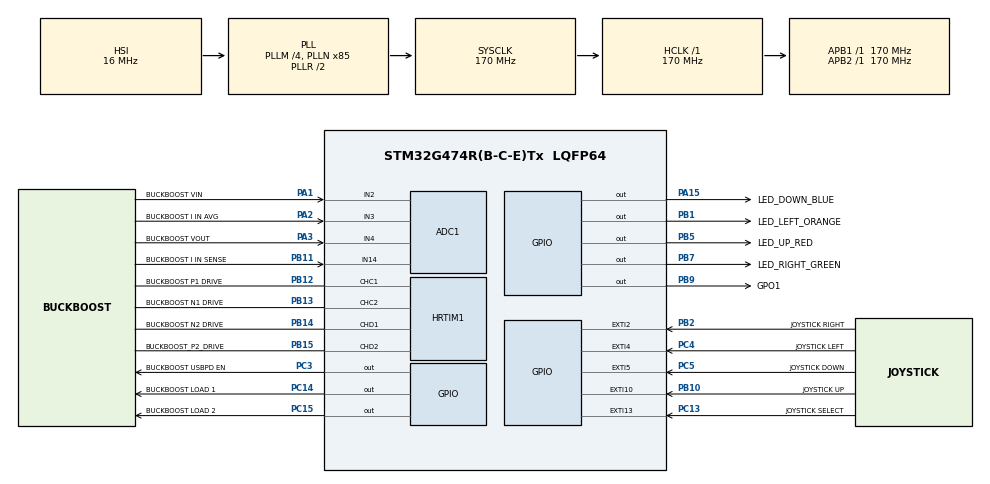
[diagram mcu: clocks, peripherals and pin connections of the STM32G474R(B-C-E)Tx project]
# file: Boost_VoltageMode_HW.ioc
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ADC1.Channel-0\#ChannelRegularConversion=ADC_CHANNEL_4
ADC1.DMAContinuousRequests=ENABLE
ADC1.DataAlign=ADC_DATAALIGN_LEFT
ADC1.ExternalTrigConv=ADC_EXTERNALTRIG_HRTIM_TRG1
ADC1.NbrOfConversionFlag=1
ADC1.Offset-0\#ChannelRegularConversion=REF
ADC1.OffsetNumber-0\#ChannelRegularConversion=ADC_OFFSET_1
ADC1.Overrun=ADC_OVR_DATA_OVERWRITTEN
ADC1.Rank-0\#ChannelRegularConversion=1
ADC1.SamplingTime-0\#ChannelRegularConversion=ADC_SAMPLETIME_24CYCLES_5
ADC1.master=1
Dma.ADC1.0.Direction=DMA_PERIPH_TO_MEMORY
Dma.ADC1.0.EventEnable=DISABLE
Dma.ADC1.0.Instance=DMA1_Channel1
Dma.ADC1.0.MemDataAlignment=DMA_MDATAALIGN_WORD
Dma.ADC1.0.MemInc=DMA_MINC_DISABLE
Dma.ADC1.0.Mode=DMA_CIRCULAR
Dma.ADC1.0.PeriphDataAlignment=DMA_PDATAALIGN_WORD
Dma.ADC1.0.PeriphInc=DMA_PINC_DISABLE
Dma.ADC1.0.Polarity=HAL_DMAMUX_REQ_GEN_RISING
Dma.ADC1.0.Priority=DMA_PRIORITY_LOW
Dma.ADC1.0.RequestNumber=1
Dma.ADC1.0.SignalID=HAL_DMAMUX1_REQ_GEN_EXTI2
Dma.ADC1.0.SyncEnable=DISABLE
Dma.ADC1.0.SyncPolarity=HAL_DMAMUX_SYNC_NO_EVENT
Dma.ADC1.0.SyncRequestNumber=1
Dma.ADC1.0.SyncSignalID=NONE
Dma.Request0=ADC1
HRTIM1.ADCTrigger1_Source1=HRTIM_ADCTRIGGEREVENT13_TIMERD_PERIOD
HRTIM1.ADCTrigger_Id1=HRTIM_ADCTRIGGER_1
HRTIM1.CompareUnit1-Output_TC1TC2=HRTIM_COMPAREUNIT_1
HRTIM1.CompareUnit1-Output_TD1TD2=HRTIM_COMPAREUNIT_1
HRTIM1.CompareUnit2-Output_TC1TC2=__NULL
HRTIM1.CompareUnit2-Output_TD1TD2=__NULL
HRTIM1.CompareUnit3-Output_TC1TC2=__NULL
HRTIM1.CompareUnit3-Output_TD1TD2=HRTIM_COMPAREUNIT_3
HRTIM1.CompareValue1-Output_TC1TC2=6400
HRTIM1.CompareValue1-Output_TD1TD2=96
HRTIM1.CompareValue3-Output_TD1TD2=24480
HRTIM1.DeadTimeInsertion-Output_TC1TC2=HRTIM_TIMDEADTIMEINSERTION_ENABLED
HRTIM1.DeadTimeInsertion-Output_TD1TD2=HRTIM_TIMDEADTIMEINSERTION_ENABLED
HRTIM1.FallingValue-Output_TC1TC2=250
HRTIM1.FallingValue-Output_TD1TD2=250
HRTIM1.FaultLevel1-Output_TC1TC2=HRTIM_OUTPUTFAULTLEVEL_INACTIVE
HRTIM1.FaultLevel2-Output_TC1TC2=HRTIM_OUTPUTFAULTLEVEL_INACTIVE
HRTIM1.GreaterCMP1_TC=HRTIM_TIMERGTCMP1_EQUAL
HRTIM1.IdleLevel1-Output_TC1TC2=HRTIM_OUTPUTIDLELEVEL_ACTIVE
HRTIM1.IdleLevel2-Output_TD1TD2=HRTIM_OUTPUTIDLELEVEL_ACTIVE
HRTIM1.NumberADCTriggerSource1=1
HRTIM1.NumberInterruptRequests-Output_TC1TC2=0
HRTIM1.NumberResetSource1-Output_TC1TC2=2
HRTIM1.NumberResetSource1-Output_TD1TD2=2
HRTIM1.NumberSetSource1-Output_TC1TC2=1
HRTIM1.NumberSetSource1-Output_TD1TD2=1
HRTIM1.ORingUpdateSource_ADCTrigger1=HRTIM_ADCTRIGGERUPDATE_TIMER_D
HRTIM1.Periode_TC=13600
HRTIM1.Periode_TD=27200
HRTIM1.PreloadEnable-Output_TC1TC2=HRTIM_PRELOAD_DISABLED
HRTIM1.ResetOutput1_Source1-Output_TC1TC2=HRTIM_OUTPUTRESET_TIMCMP1
HRTIM1.ResetOutput1_Source1-Output_TD1TD2=HRTIM_OUTPUTRESET_TIMCMP1
HRTIM1.ResetOutput1_Source2-Output_TC1TC2=HRTIM_OUTPUTRESET_NONE
HRTIM1.ResetOutput1_Source2-Output_TD1TD2=HRTIM_OUTPUTRESET_TIMCMP3
HRTIM1.ResetUpdate-Output_TC1TC2=HRTIM_TIMUPDATEONRESET_DISABLED
HRTIM1.RisingValue-Output_TC1TC2=250
HRTIM1.RisingValue-Output_TD1TD2=250
HRTIM1.SetOutput1_Source1-Output_TC1TC2=HRTIM_OUTPUTSET_TIMPER
HRTIM1.SetOutput1_Source1-Output_TD1TD2=HRTIM_OUTPUTSET_TIMPER
Mcu.Family=STM32G4
Mcu.Name=STM32G474R(B-C-E)Tx
Mcu.Package=LQFP64
NVIC.DMA1_Channel1_IRQn=true\:0\:0\:false\:false\:false\:false\:false\:true
NVIC.EXTI15_10_IRQn=true\:0\:0\:false\:false\:true\:true\:true\:true
NVIC.EXTI2_IRQn=true\:0\:0\:false\:false\:true\:true\:true\:true
NVIC.EXTI4_IRQn=true\:0\:0\:false\:false\:true\:true\:true\:true
NVIC.EXTI9_5_IRQn=true\:0\:0\:false\:false\:true\:true\:true\:true
NVIC.FMAC_IRQn=true\:0\:0\:false\:false\:true\:true\:false\:true
NVIC.PriorityGroup=NVIC_PRIORITYGROUP_4
PA1.GPIO_Label=BUCKBOOST VIN
PA1.Mode=IN2-Single-Ended
PA1.Signal=ADC1_IN2
PA13.GPIO_Label=T_SWDIO
PA13.Mode=Trace_Asynchronous_SW
PA13.Signal=SYS_JTMS-SWDIO
PA14.GPIO_Label=T_SWCLK
PA14.Mode=Trace_Asynchronous_SW
PA14.Signal=SYS_JTCK-SWCLK
PA15.GPIO_Label=LED_DOWN_BLUE
PA15.GPIO_PuPd=GPIO_NOPULL
PA15.Signal=GPIO_Output
PA2.GPIO_Label=BUCKBOOST I IN AVG
PA2.Mode=IN3-Single-Ended
PA2.Signal=ADC1_IN3
PA3.GPIO_Label=BUCKBOOST VOUT
PA3.Mode=IN4-Single-Ended
PA3.Signal=ADC1_IN4
PB1.GPIO_Label=LED_LEFT_ORANGE
PB1.GPIO_PuPd=GPIO_NOPULL
PB1.Signal=GPIO_Output
PB10.GPIO_Label=JOYSTICK UP
PB10.GPIO_PuPd=GPIO_PULLUP
PB10.Signal=GPXTI10
PB11.GPIO_Label=BUCKBOOST I IN SENSE
PB11.Mode=IN14-Single-Ended
PB11.Signal=ADC1_IN14
PB12.GPIO_Label=BUCKBOOST P1 DRIVE
PB12.Mode=Output_TC1TC2
PB12.Signal=HRTIM1_CHC1
PB13.GPIO_Label=BUCKBOOST N1 DRIVE
PB13.Mode=Output_TC1TC2
PB13.Signal=HRTIM1_CHC2
PB14.GPIO_Label=BUCKBOOST N2 DRIVE
PB14.Mode=Output_TD1TD2
PB14.Signal=HRTIM1_CHD1
PB15.GPIO_Label=BUCKBOOST_P2_DRIVE
PB15.Mode=Output_TD1TD2
PB15.Signal=HRTIM1_CHD2
PB2.GPIO_Label=JOYSTICK RIGHT
PB2.GPIO_ModeDefaultEXTI=GPIO_MODE_IT_RISING
PB2.GPIO_PuPd=GPIO_PULLUP
PB2.Signal=GPXTI2
PB3.GPIO_Label=T_SWO
PB3.Mode=Trace_Asynchronous_SW
PB3.Signal=SYS_JTDO-SWO
PB5.GPIO_Label=LED_UP_RED
PB5.GPIO_PuPd=GPIO_NOPULL
PB5.Signal=GPIO_Output
PB7.GPIO_Label=LED_RIGHT_GREEN
PB7.GPIO_PuPd=GPIO_NOPULL
PB7.Signal=GPIO_Output
PB9.GPIO_Label=GPO1
PB9.GPIO_Speed=GPIO_SPEED_FREQ_VERY_HIGH
PB9.Signal=GPIO_Output
PC10.Signal=USART3_TX
PC11.Signal=USART3_RX
PC13.GPIO_Label=JOYSTICK SELECT
PC13.GPIO_PuPd=GPIO_PULLUP
PC13.Signal=GPXTI13
PC14-OSC32_IN.GPIO_Label=BUCKBOOST LOAD 1
PC14-OSC32_IN.Signal=GPIO_Output
PC15-OSC32_OUT.GPIO_Label=BUCKBOOST LOAD 2
PC15-OSC32_OUT.Signal=GPIO_Output
PC3.GPIO_Label=BUCKBOOST USBPD EN
PC3.PinState=GPIO_PIN_SET
PC3.Signal=GPIO_Output
PC4.GPIO_Label=JOYSTICK LEFT
PC4.GPIO_PuPd=GPIO_PULLUP
PC4.Signal=GPXTI4
PC5.GPIO_Label=JOYSTICK DOWN
PC5.GPIO_PuPd=GPIO_PULLUP
PC5.Signal=GPXTI5
ProjectManager.HeapSize=0x200
ProjectManager.StackSize=0x400
ProjectManager.TargetToolchain=EWARM V8.32
RCC.ADC12CLockSelection=RCC_ADC12CLKSOURCE_PLL
RCC.ADC12Freq_Value=34000000
RCC.ADC345Freq_Value=170000000
RCC.AHBFreq_Value=170000000
RCC.APB1Freq_Value=170000000
RCC.APB1TimFreq_Value=170000000
RCC.APB2Freq_Value=170000000
RCC.APB2TimFreq_Value=170000000
RCC.CortexFreq_Value=170000000
RCC.EXTERNAL_CLOCK_VALUE=12288000
RCC.HCLKFreq_Value=170000000
RCC.HSE_VALUE=24000000
RCC.HSI48_VALUE=48000000
RCC.HSI_VALUE=16000000
RCC.LSE_VALUE=32768
RCC.PLLM=RCC_PLLM_DIV4
RCC.PLLN=85
RCC.PLLP=RCC_PLLP_DIV10
RCC.SYSCLKFreq_VALUE=170000000
RCC.SYSCLKSource=RCC_SYSCLKSOURCE_PLLCLK
RCC.USBFreq_Value=170000000
RCC.VCOOutputFreq_Value=340000000
VP_FMAC_VS_FMAC.Mode=FMAC_Activate
VP_RTC_VS_RTC_Activate.Mode=RTC_Enabled
VP_SYS_VS_DBSignals.Mode=DisableDeadBatterySignals
board=NUCLEO-G474RE

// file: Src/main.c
/* USER CODE BEGIN Header */
/**
  ******************************************************************************
  * @file         main.c
  * @author       STMicroelectronics
  * @brief        Main program body
  * @details      This file provides main function and peripheral init
  *               functions
  ******************************************************************************
  *
  * Copyright (c) 2022 STMicroelectronics.
  * All rights reserved.
  *
  * This software is licensed under terms that can be found in the LICENSE file in
  * the root directory of this software component.
  * If no LICENSE file comes with this software, it is provided AS-IS.
  ******************************************************************************
  *
 * @history Date       Version Person  Change
 * @history ---------- ------- ------- ----------------------------------------
  * @history 2020-02-14 1.0     PBo     Created with the support of Biricha Digital Power LTd
  * @history 2021-12-22 1.0     NSa     Updating code to manage both an open loop buck and
                                        a closed loop boost
  * @history 2022-01-04 1.0     RGo     Header modifications
  * @history 2022-01-10 2.0     NSa     Moved Systick_Handler to ISR file and Load_Handler to
  *                                     app code file
  * @history 2022-01-26 2.0     NSa     Suppressed the use of Compare 3 in Timer C from .ioc
  * @history 2022-01-27 2.0     NSa     Configured longer ADC sampling time
 */

/* USER CODE END Header */
#include "main.h"

/* USER CODE BEGIN Includes */
#include "stm32g4xx_it.h"
/* USER CODE END Includes */

ADC_HandleTypeDef hadc1;
DMA_HandleTypeDef hdma_adc1;

FMAC_HandleTypeDef hfmac;

HRTIM_HandleTypeDef hhrtim1;

RTC_HandleTypeDef hrtc;

/* USER CODE BEGIN PV */
/* FMAC configuration structure */
FMAC_FilterConfigTypeDef sFmacConfig;
DMA_HandleTypeDef hdma_fmac_read;

/* Array of filter coefficients A (feedback coefficients) in Q1.15 format */
static int16_t aFilterCoeffA[COEFF_VECTOR_A_SIZE] = {A1,A2,A3};

/* Array of filter coefficients B (feed-forward taps) in Q1.15 format */
static int16_t aFilterCoeffB[COEFF_VECTOR_B_SIZE] = {(int16_t)-B0,(int16_t)-B1,(int16_t)-B2,(int16_t)-B3};

/* Array of output data to preload in Q1.15 format */
static int16_t aOutputDataToPreload[COEFF_VECTOR_A_SIZE] = {0x0000, 0x0000, 0x0000};

/* Expected number of calculated samples */
uint16_t ExpectedCalculatedOutputSize = (uint16_t) 1;
uint32_t *Fmac_Wdata;
int16_t Fmac_output;
int16_t bTransient = 0;
extern G4_Demo_t Demo;
/* USER CODE END PV */

void SystemClock_Config(void);
static void MX_GPIO_Init(void);
static void MX_DMA_Init(void);
static void MX_RTC_Init(void);
static void MX_ADC1_Init(void);
static void MX_HRTIM1_Init(void);
static void MX_FMAC_Init(void);

int main(void)
{

  /* MCU Configuration--------------------------------------------------------*/

  /* Reset of all peripherals, Initializes the Flash interface and the Systick. */
  HAL_Init();

  /* Configure the system clock */
  SystemClock_Config();

  /* Initialize all configured peripherals */
  MX_GPIO_Init();
  MX_DMA_Init();
  MX_RTC_Init();
  MX_ADC1_Init();
  MX_HRTIM1_Init();
  MX_FMAC_Init();
  /* USER CODE BEGIN 2 */

     /*## Configure the FMAC peripheral ###########################################*/
  sFmacConfig.InputBaseAddress  = INPUT_BUFFER_BASE;
  sFmacConfig.InputBufferSize   = INPUT_BUFFER_SIZE;
  sFmacConfig.InputThreshold    = INPUT_THRESHOLD;
  sFmacConfig.CoeffBaseAddress  = COEFFICIENT_BUFFER_BASE;
  sFmacConfig.CoeffBufferSize   = COEFFICIENT_BUFFER_SIZE;
  sFmacConfig.OutputBaseAddress = OUTPUT_BUFFER_BASE;
  sFmacConfig.OutputBufferSize  = OUTPUT_BUFFER_SIZE;
  sFmacConfig.OutputThreshold   = OUTPUT_THRESHOLD;
  sFmacConfig.pCoeffA           = aFilterCoeffA;
  sFmacConfig.CoeffASize        = COEFF_VECTOR_A_SIZE;
  sFmacConfig.pCoeffB           = aFilterCoeffB;
  sFmacConfig.CoeffBSize        = COEFF_VECTOR_B_SIZE;
  sFmacConfig.Filter            = FMAC_FUNC_IIR_DIRECT_FORM_1;
  sFmacConfig.InputAccess       = FMAC_BUFFER_ACCESS_NONE;
  sFmacConfig.OutputAccess      = FMAC_BUFFER_ACCESS_IT;
  sFmacConfig.Clip              = FMAC_CLIP_ENABLED;
  sFmacConfig.P                 = COEFF_VECTOR_B_SIZE;
  sFmacConfig.Q                 = COEFF_VECTOR_A_SIZE;
  sFmacConfig.R                 = post_shift;

  if (HAL_FMAC_FilterConfig(&hfmac, &sFmacConfig) != HAL_OK)
  {
    /* Configuration Error */
    Error_Handler();
  }

  /*## Preload the input and output buffers ####################################*/
  if (HAL_FMAC_FilterPreload(&hfmac, NULL, INPUT_BUFFER_SIZE,
                           aOutputDataToPreload, COEFF_VECTOR_A_SIZE) != HAL_OK)
  {
    /* Configuration Error */
    Error_Handler();
  }
  /* Start calculation of IIR filter */
   if (HAL_FMAC_FilterStart(&hfmac,&Fmac_output,&ExpectedCalculatedOutputSize) != HAL_OK)
  {
    /* Processing Error */
    Error_Handler();
  }

  /* Perform an ADC automatic self-calibration and enable ADC */
  HAL_ADCEx_Calibration_Start(&hadc1, ADC_SINGLE_ENDED);

  /* Start the PWMs */
  HAL_HRTIM_WaveformOutputStart(&hhrtim1, HRTIM_OUTPUT_TC1 | HRTIM_OUTPUT_TC2);
  HAL_HRTIM_WaveformOutputStart(&hhrtim1, HRTIM_OUTPUT_TD1 | HRTIM_OUTPUT_TD2);
  HAL_HRTIM_WaveformCounterStart(&hhrtim1, HRTIM_TIMERID_TIMER_C | HRTIM_TIMERID_TIMER_D);

  /* Start ADC and DMA */
  Fmac_Wdata = (uint32_t *) FMAC_WDATA;
  HAL_ADC_Start_DMA(&hadc1,Fmac_Wdata,1);

  /* USER CODE END 2 */

  /* Infinite loop */
  /* USER CODE BEGIN WHILE */
  while (1)
  {
    if (bTransient)
    {
      HAL_GPIO_WritePin(GPIOA, LED_DOWN_BLUE_Pin, GPIO_PIN_SET);

      // Toggle both Loads
      HAL_GPIO_TogglePin(GPIOC, BUCKBOOST_LOAD_1_Pin);
      HAL_GPIO_TogglePin(GPIOC, BUCKBOOST_LOAD_2_Pin);
      HAL_GPIO_TogglePin(GPIOB, LED_RIGHT_GREEN_Pin);
      HAL_GPIO_TogglePin(GPIOB, LED_LEFT_ORANGE_Pin);

      // Delay
      HAL_Delay(500);
    } else {
      HAL_GPIO_WritePin(GPIOA, LED_DOWN_BLUE_Pin, GPIO_PIN_RESET);
    }

    /* USER CODE END WHILE */

  }
}

void SystemClock_Config(void)
{
  RCC_OscInitTypeDef RCC_OscInitStruct = {0};
  RCC_ClkInitTypeDef RCC_ClkInitStruct = {0};

  /** Configure the main internal regulator output voltage
  */
  HAL_PWREx_ControlVoltageScaling(PWR_REGULATOR_VOLTAGE_SCALE1_BOOST);

  /** Initializes the RCC Oscillators according to the specified parameters
  * in the RCC_OscInitTypeDef structure.
  */
  RCC_OscInitStruct.OscillatorType = RCC_OSCILLATORTYPE_HSI|RCC_OSCILLATORTYPE_LSI;
  RCC_OscInitStruct.HSIState = RCC_HSI_ON;
  RCC_OscInitStruct.HSICalibrationValue = RCC_HSICALIBRATION_DEFAULT;
  RCC_OscInitStruct.LSIState = RCC_LSI_ON;
  RCC_OscInitStruct.PLL.PLLState = RCC_PLL_ON;
  RCC_OscInitStruct.PLL.PLLSource = RCC_PLLSOURCE_HSI;
  RCC_OscInitStruct.PLL.PLLM = RCC_PLLM_DIV4;
  RCC_OscInitStruct.PLL.PLLN = 85;
  RCC_OscInitStruct.PLL.PLLP = RCC_PLLP_DIV10;
  RCC_OscInitStruct.PLL.PLLQ = RCC_PLLQ_DIV2;
  RCC_OscInitStruct.PLL.PLLR = RCC_PLLR_DIV2;
  if (HAL_RCC_OscConfig(&RCC_OscInitStruct) != HAL_OK)
  {
    Error_Handler();
  }

  /** Initializes the CPU, AHB and APB buses clocks
  */
  RCC_ClkInitStruct.ClockType = RCC_CLOCKTYPE_HCLK|RCC_CLOCKTYPE_SYSCLK
                              |RCC_CLOCKTYPE_PCLK1|RCC_CLOCKTYPE_PCLK2;
  RCC_ClkInitStruct.SYSCLKSource = RCC_SYSCLKSOURCE_PLLCLK;
  RCC_ClkInitStruct.AHBCLKDivider = RCC_SYSCLK_DIV1;
  RCC_ClkInitStruct.APB1CLKDivider = RCC_HCLK_DIV1;
  RCC_ClkInitStruct.APB2CLKDivider = RCC_HCLK_DIV1;

  if (HAL_RCC_ClockConfig(&RCC_ClkInitStruct, FLASH_LATENCY_4) != HAL_OK)
  {
    Error_Handler();
  }
}

static void MX_ADC1_Init(void)
{

  ADC_MultiModeTypeDef multimode = {0};
  ADC_ChannelConfTypeDef sConfig = {0};

  /** Common config
  */
  hadc1.Instance = ADC1;
  hadc1.Init.ClockPrescaler = ADC_CLOCK_SYNC_PCLK_DIV4;
  hadc1.Init.Resolution = ADC_RESOLUTION_12B;
  hadc1.Init.DataAlign = ADC_DATAALIGN_LEFT;
  hadc1.Init.GainCompensation = 0;
  hadc1.Init.ScanConvMode = ADC_SCAN_DISABLE;
  hadc1.Init.EOCSelection = ADC_EOC_SINGLE_CONV;
  hadc1.Init.LowPowerAutoWait = DISABLE;
  hadc1.Init.ContinuousConvMode = DISABLE;
  hadc1.Init.NbrOfConversion = 1;
  hadc1.Init.DiscontinuousConvMode = DISABLE;
  hadc1.Init.ExternalTrigConv = ADC_EXTERNALTRIG_HRTIM_TRG1;
  hadc1.Init.ExternalTrigConvEdge = ADC_EXTERNALTRIGCONVEDGE_RISING;
  hadc1.Init.DMAContinuousRequests = ENABLE;
  hadc1.Init.Overrun = ADC_OVR_DATA_OVERWRITTEN;
  hadc1.Init.OversamplingMode = DISABLE;
  if (HAL_ADC_Init(&hadc1) != HAL_OK)
  {
    Error_Handler();
  }

  /** Configure the ADC multi-mode
  */
  multimode.Mode = ADC_MODE_INDEPENDENT;
  if (HAL_ADCEx_MultiModeConfigChannel(&hadc1, &multimode) != HAL_OK)
  {
    Error_Handler();
  }

  /** Configure Regular Channel
  */
  sConfig.Channel = ADC_CHANNEL_4;
  sConfig.Rank = ADC_REGULAR_RANK_1;
  sConfig.SamplingTime = ADC_SAMPLETIME_24CYCLES_5;
  sConfig.SingleDiff = ADC_SINGLE_ENDED;
  sConfig.OffsetNumber = ADC_OFFSET_1;
  sConfig.Offset = REF;
  sConfig.OffsetSign = ADC_OFFSET_SIGN_NEGATIVE;
  sConfig.OffsetSaturation = DISABLE;
  if (HAL_ADC_ConfigChannel(&hadc1, &sConfig) != HAL_OK)
  {
    Error_Handler();
  }
  /* USER CODE BEGIN ADC1_Init 2 */
  /* CubeMX enables DMA interrupt even if not configured */
  HAL_NVIC_DisableIRQ(DMA1_Channel1_IRQn);
  /* USER CODE END ADC1_Init 2 */

}

static void MX_FMAC_Init(void)
{

  hfmac.Instance = FMAC;
  if (HAL_FMAC_Init(&hfmac) != HAL_OK)
  {
    Error_Handler();
  }

}

static void MX_HRTIM1_Init(void)
{

  HRTIM_ADCTriggerCfgTypeDef pADCTriggerCfg = {0};
  HRTIM_TimeBaseCfgTypeDef pTimeBaseCfg = {0};
  HRTIM_TimerCtlTypeDef pTimerCtl = {0};
  HRTIM_TimerCfgTypeDef pTimerCfg = {0};
  HRTIM_CompareCfgTypeDef pCompareCfg = {0};
  HRTIM_DeadTimeCfgTypeDef pDeadTimeCfg = {0};
  HRTIM_OutputCfgTypeDef pOutputCfg = {0};

  hhrtim1.Instance = HRTIM1;
  hhrtim1.Init.HRTIMInterruptResquests = HRTIM_IT_NONE;
  hhrtim1.Init.SyncOptions = HRTIM_SYNCOPTION_NONE;
  if (HAL_HRTIM_Init(&hhrtim1) != HAL_OK)
  {
    Error_Handler();
  }
  if (HAL_HRTIM_DLLCalibrationStart(&hhrtim1, HRTIM_CALIBRATIONRATE_3) != HAL_OK)
  {
    Error_Handler();
  }
  if (HAL_HRTIM_PollForDLLCalibration(&hhrtim1, 10) != HAL_OK)
  {
    Error_Handler();
  }
  pADCTriggerCfg.UpdateSource = HRTIM_ADCTRIGGERUPDATE_TIMER_D;
  pADCTriggerCfg.Trigger = HRTIM_ADCTRIGGEREVENT13_TIMERD_PERIOD;
  if (HAL_HRTIM_ADCTriggerConfig(&hhrtim1, HRTIM_ADCTRIGGER_1, &pADCTriggerCfg) != HAL_OK)
  {
    Error_Handler();
  }
  if (HAL_HRTIM_ADCPostScalerConfig(&hhrtim1, HRTIM_ADCTRIGGER_1, 0x0) != HAL_OK)
  {
    Error_Handler();
  }
  pTimeBaseCfg.Period = 13600;
  pTimeBaseCfg.RepetitionCounter = 0x00;
  pTimeBaseCfg.PrescalerRatio = HRTIM_PRESCALERRATIO_MUL32;
  pTimeBaseCfg.Mode = HRTIM_MODE_CONTINUOUS;
  if (HAL_HRTIM_TimeBaseConfig(&hhrtim1, HRTIM_TIMERINDEX_TIMER_C, &pTimeBaseCfg) != HAL_OK)
  {
    Error_Handler();
  }
  pTimerCtl.UpDownMode = HRTIM_TIMERUPDOWNMODE_UP;
  pTimerCtl.GreaterCMP1 = HRTIM_TIMERGTCMP1_EQUAL;
  pTimerCtl.DualChannelDacEnable = HRTIM_TIMER_DCDE_DISABLED;
  if (HAL_HRTIM_WaveformTimerControl(&hhrtim1, HRTIM_TIMERINDEX_TIMER_C, &pTimerCtl) != HAL_OK)
  {
    Error_Handler();
  }
  pTimerCfg.InterruptRequests = HRTIM_TIM_IT_NONE;
  pTimerCfg.DMARequests = HRTIM_TIM_DMA_NONE;
  pTimerCfg.DMASrcAddress = 0x0000;
  pTimerCfg.DMADstAddress = 0x0000;
  pTimerCfg.DMASize = 0x1;
  pTimerCfg.HalfModeEnable = HRTIM_HALFMODE_DISABLED;
  pTimerCfg.InterleavedMode = HRTIM_INTERLEAVED_MODE_DISABLED;
  pTimerCfg.StartOnSync = HRTIM_SYNCSTART_DISABLED;
  pTimerCfg.ResetOnSync = HRTIM_SYNCRESET_DISABLED;
  pTimerCfg.DACSynchro = HRTIM_DACSYNC_NONE;
  pTimerCfg.PreloadEnable = HRTIM_PRELOAD_DISABLED;
  pTimerCfg.UpdateGating = HRTIM_UPDATEGATING_INDEPENDENT;
  pTimerCfg.BurstMode = HRTIM_TIMERBURSTMODE_MAINTAINCLOCK;
  pTimerCfg.RepetitionUpdate = HRTIM_UPDATEONREPETITION_DISABLED;
  pTimerCfg.PushPull = HRTIM_TIMPUSHPULLMODE_DISABLED;
  pTimerCfg.FaultEnable = HRTIM_TIMFAULTENABLE_NONE;
  pTimerCfg.FaultLock = HRTIM_TIMFAULTLOCK_READWRITE;
  pTimerCfg.DeadTimeInsertion = HRTIM_TIMDEADTIMEINSERTION_ENABLED;
  pTimerCfg.DelayedProtectionMode = HRTIM_TIMER_A_B_C_DELAYEDPROTECTION_DISABLED;
  pTimerCfg.UpdateTrigger = HRTIM_TIMUPDATETRIGGER_NONE;
  pTimerCfg.ResetTrigger = HRTIM_TIMRESETTRIGGER_NONE;
  pTimerCfg.ResetUpdate = HRTIM_TIMUPDATEONRESET_DISABLED;
  pTimerCfg.ReSyncUpdate = HRTIM_TIMERESYNC_UPDATE_UNCONDITIONAL;
  if (HAL_HRTIM_WaveformTimerConfig(&hhrtim1, HRTIM_TIMERINDEX_TIMER_C, &pTimerCfg) != HAL_OK)
  {
    Error_Handler();
  }
  pTimerCfg.DelayedProtectionMode = HRTIM_TIMER_D_E_DELAYEDPROTECTION_DISABLED;
  if (HAL_HRTIM_WaveformTimerConfig(&hhrtim1, HRTIM_TIMERINDEX_TIMER_D, &pTimerCfg) != HAL_OK)
  {
    Error_Handler();
  }
  pCompareCfg.CompareValue = 6400;
  if (HAL_HRTIM_WaveformCompareConfig(&hhrtim1, HRTIM_TIMERINDEX_TIMER_C, HRTIM_COMPAREUNIT_1, &pCompareCfg) != HAL_OK)
  {
    Error_Handler();
  }
  pDeadTimeCfg.Prescaler = HRTIM_TIMDEADTIME_PRESCALERRATIO_MUL8;
  pDeadTimeCfg.RisingValue = 250;
  pDeadTimeCfg.RisingSign = HRTIM_TIMDEADTIME_RISINGSIGN_POSITIVE;
  pDeadTimeCfg.RisingLock = HRTIM_TIMDEADTIME_RISINGLOCK_WRITE;
  pDeadTimeCfg.RisingSignLock = HRTIM_TIMDEADTIME_RISINGSIGNLOCK_WRITE;
  pDeadTimeCfg.FallingValue = 250;
  pDeadTimeCfg.FallingSign = HRTIM_TIMDEADTIME_FALLINGSIGN_POSITIVE;
  pDeadTimeCfg.FallingLock = HRTIM_TIMDEADTIME_FALLINGLOCK_WRITE;
  pDeadTimeCfg.FallingSignLock = HRTIM_TIMDEADTIME_FALLINGSIGNLOCK_WRITE;
  if (HAL_HRTIM_DeadTimeConfig(&hhrtim1, HRTIM_TIMERINDEX_TIMER_C, &pDeadTimeCfg) != HAL_OK)
  {
    Error_Handler();
  }
  if (HAL_HRTIM_DeadTimeConfig(&hhrtim1, HRTIM_TIMERINDEX_TIMER_D, &pDeadTimeCfg) != HAL_OK)
  {
    Error_Handler();
  }
  pOutputCfg.Polarity = HRTIM_OUTPUTPOLARITY_HIGH;
  pOutputCfg.SetSource = HRTIM_OUTPUTSET_TIMPER;
  pOutputCfg.ResetSource = HRTIM_OUTPUTRESET_TIMCMP1;
  pOutputCfg.IdleMode = HRTIM_OUTPUTIDLEMODE_NONE;
  pOutputCfg.IdleLevel = HRTIM_OUTPUTIDLELEVEL_ACTIVE;
  pOutputCfg.FaultLevel = HRTIM_OUTPUTFAULTLEVEL_INACTIVE;
  pOutputCfg.ChopperModeEnable = HRTIM_OUTPUTCHOPPERMODE_DISABLED;
  pOutputCfg.BurstModeEntryDelayed = HRTIM_OUTPUTBURSTMODEENTRY_REGULAR;
  if (HAL_HRTIM_WaveformOutputConfig(&hhrtim1, HRTIM_TIMERINDEX_TIMER_C, HRTIM_OUTPUT_TC1, &pOutputCfg) != HAL_OK)
  {
    Error_Handler();
  }
  pOutputCfg.ResetSource = HRTIM_OUTPUTRESET_TIMCMP1|HRTIM_OUTPUTRESET_TIMCMP3;
  pOutputCfg.IdleLevel = HRTIM_OUTPUTIDLELEVEL_INACTIVE;
  pOutputCfg.FaultLevel = HRTIM_OUTPUTFAULTLEVEL_NONE;
  if (HAL_HRTIM_WaveformOutputConfig(&hhrtim1, HRTIM_TIMERINDEX_TIMER_D, HRTIM_OUTPUT_TD1, &pOutputCfg) != HAL_OK)
  {
    Error_Handler();
  }
  pOutputCfg.SetSource = HRTIM_OUTPUTSET_NONE;
  pOutputCfg.ResetSource = HRTIM_OUTPUTRESET_NONE;
  pOutputCfg.FaultLevel = HRTIM_OUTPUTFAULTLEVEL_INACTIVE;
  if (HAL_HRTIM_WaveformOutputConfig(&hhrtim1, HRTIM_TIMERINDEX_TIMER_C, HRTIM_OUTPUT_TC2, &pOutputCfg) != HAL_OK)
  {
    Error_Handler();
  }
  pOutputCfg.IdleLevel = HRTIM_OUTPUTIDLELEVEL_ACTIVE;
  pOutputCfg.FaultLevel = HRTIM_OUTPUTFAULTLEVEL_NONE;
  if (HAL_HRTIM_WaveformOutputConfig(&hhrtim1, HRTIM_TIMERINDEX_TIMER_D, HRTIM_OUTPUT_TD2, &pOutputCfg) != HAL_OK)
  {
    Error_Handler();
  }
  pTimeBaseCfg.Period = 27200;
  if (HAL_HRTIM_TimeBaseConfig(&hhrtim1, HRTIM_TIMERINDEX_TIMER_D, &pTimeBaseCfg) != HAL_OK)
  {
    Error_Handler();
  }
  pTimerCtl.GreaterCMP3 = HRTIM_TIMERGTCMP3_EQUAL;
  if (HAL_HRTIM_WaveformTimerControl(&hhrtim1, HRTIM_TIMERINDEX_TIMER_D, &pTimerCtl) != HAL_OK)
  {
    Error_Handler();
  }
  pCompareCfg.CompareValue = 96;
  if (HAL_HRTIM_WaveformCompareConfig(&hhrtim1, HRTIM_TIMERINDEX_TIMER_D, HRTIM_COMPAREUNIT_1, &pCompareCfg) != HAL_OK)
  {
    Error_Handler();
  }
  pCompareCfg.CompareValue = 24480;
  if (HAL_HRTIM_WaveformCompareConfig(&hhrtim1, HRTIM_TIMERINDEX_TIMER_D, HRTIM_COMPAREUNIT_3, &pCompareCfg) != HAL_OK)
  {
    Error_Handler();
  }
  HAL_HRTIM_MspPostInit(&hhrtim1);

}

static void MX_RTC_Init(void)
{

  /** Initialize RTC Only
  */
  hrtc.Instance = RTC;
  hrtc.Init.HourFormat = RTC_HOURFORMAT_24;
  hrtc.Init.AsynchPrediv = 127;
  hrtc.Init.SynchPrediv = 255;
  hrtc.Init.OutPut = RTC_OUTPUT_DISABLE;
  hrtc.Init.OutPutRemap = RTC_OUTPUT_REMAP_NONE;
  hrtc.Init.OutPutPolarity = RTC_OUTPUT_POLARITY_HIGH;
  hrtc.Init.OutPutType = RTC_OUTPUT_TYPE_OPENDRAIN;
  hrtc.Init.OutPutPullUp = RTC_OUTPUT_PULLUP_NONE;
  if (HAL_RTC_Init(&hrtc) != HAL_OK)
  {
    Error_Handler();
  }

}

static void MX_DMA_Init(void)
{

  /* DMA controller clock enable */
  __HAL_RCC_DMAMUX1_CLK_ENABLE();
  __HAL_RCC_DMA1_CLK_ENABLE();

  /* DMA interrupt init */
  /* DMA1_Channel1_IRQn interrupt configuration */
  HAL_NVIC_SetPriority(DMA1_Channel1_IRQn, 0, 0);
  HAL_NVIC_EnableIRQ(DMA1_Channel1_IRQn);

}

static void MX_GPIO_Init(void)
{
  GPIO_InitTypeDef GPIO_InitStruct = {0};

  /* GPIO Ports Clock Enable */
  __HAL_RCC_GPIOC_CLK_ENABLE();
  __HAL_RCC_GPIOA_CLK_ENABLE();
  __HAL_RCC_GPIOB_CLK_ENABLE();

  /*Configure GPIO pin Output Level */
  HAL_GPIO_WritePin(GPIOC, BUCKBOOST_LOAD_1_Pin|BUCKBOOST_LOAD_2_Pin, GPIO_PIN_RESET);

  /*Configure GPIO pin Output Level */
  HAL_GPIO_WritePin(BUCKBOOST_USBPD_EN_GPIO_Port, BUCKBOOST_USBPD_EN_Pin, GPIO_PIN_SET);

  /*Configure GPIO pin Output Level */
  HAL_GPIO_WritePin(GPIOB, LED_LEFT_ORANGE_Pin|LED_UP_RED_Pin|LED_RIGHT_GREEN_Pin|GPO1_Pin, GPIO_PIN_RESET);

  /*Configure GPIO pin Output Level */
  HAL_GPIO_WritePin(LED_DOWN_BLUE_GPIO_Port, LED_DOWN_BLUE_Pin, GPIO_PIN_RESET);

  /*Configure GPIO pins : JOYSTICK_SELECT_Pin JOYSTICK_LEFT_Pin JOYSTICK_DOWN_Pin */
  GPIO_InitStruct.Pin = JOYSTICK_SELECT_Pin|JOYSTICK_LEFT_Pin|JOYSTICK_DOWN_Pin;
  GPIO_InitStruct.Mode = GPIO_MODE_IT_RISING;
  GPIO_InitStruct.Pull = GPIO_PULLUP;
  HAL_GPIO_Init(GPIOC, &GPIO_InitStruct);

  /*Configure GPIO pins : BUCKBOOST_LOAD_1_Pin BUCKBOOST_LOAD_2_Pin BUCKBOOST_USBPD_EN_Pin */
  GPIO_InitStruct.Pin = BUCKBOOST_LOAD_1_Pin|BUCKBOOST_LOAD_2_Pin|BUCKBOOST_USBPD_EN_Pin;
  GPIO_InitStruct.Mode = GPIO_MODE_OUTPUT_PP;
  GPIO_InitStruct.Pull = GPIO_NOPULL;
  GPIO_InitStruct.Speed = GPIO_SPEED_FREQ_LOW;
  HAL_GPIO_Init(GPIOC, &GPIO_InitStruct);

  /*Configure GPIO pins : LED_LEFT_ORANGE_Pin LED_UP_RED_Pin LED_RIGHT_GREEN_Pin */
  GPIO_InitStruct.Pin = LED_LEFT_ORANGE_Pin|LED_UP_RED_Pin|LED_RIGHT_GREEN_Pin;
  GPIO_InitStruct.Mode = GPIO_MODE_OUTPUT_PP;
  GPIO_InitStruct.Pull = GPIO_NOPULL;
  GPIO_InitStruct.Speed = GPIO_SPEED_FREQ_LOW;
  HAL_GPIO_Init(GPIOB, &GPIO_InitStruct);

  /*Configure GPIO pins : JOYSTICK_RIGHT_Pin JOYSTICK_UP_Pin */
  GPIO_InitStruct.Pin = JOYSTICK_RIGHT_Pin|JOYSTICK_UP_Pin;
  GPIO_InitStruct.Mode = GPIO_MODE_IT_RISING;
  GPIO_InitStruct.Pull = GPIO_PULLUP;
  HAL_GPIO_Init(GPIOB, &GPIO_InitStruct);

  /*Configure GPIO pin : LED_DOWN_BLUE_Pin */
  GPIO_InitStruct.Pin = LED_DOWN_BLUE_Pin;
  GPIO_InitStruct.Mode = GPIO_MODE_OUTPUT_PP;
  GPIO_InitStruct.Pull = GPIO_NOPULL;
  GPIO_InitStruct.Speed = GPIO_SPEED_FREQ_LOW;
  HAL_GPIO_Init(LED_DOWN_BLUE_GPIO_Port, &GPIO_InitStruct);

  /*Configure GPIO pins : PC10 PC11 */
  GPIO_InitStruct.Pin = GPIO_PIN_10|GPIO_PIN_11;
  GPIO_InitStruct.Mode = GPIO_MODE_AF_PP;
  GPIO_InitStruct.Pull = GPIO_NOPULL;
  GPIO_InitStruct.Speed = GPIO_SPEED_FREQ_LOW;
  GPIO_InitStruct.Alternate = GPIO_AF7_USART3;
  HAL_GPIO_Init(GPIOC, &GPIO_InitStruct);

  /*Configure GPIO pin : GPO1_Pin */
  GPIO_InitStruct.Pin = GPO1_Pin;
  GPIO_InitStruct.Mode = GPIO_MODE_OUTPUT_PP;
  GPIO_InitStruct.Pull = GPIO_NOPULL;
  GPIO_InitStruct.Speed = GPIO_SPEED_FREQ_VERY_HIGH;
  HAL_GPIO_Init(GPO1_GPIO_Port, &GPIO_InitStruct);

  /* EXTI interrupt init*/
  HAL_NVIC_SetPriority(EXTI2_IRQn, 0, 0);
  HAL_NVIC_EnableIRQ(EXTI2_IRQn);

  HAL_NVIC_SetPriority(EXTI4_IRQn, 0, 0);
  HAL_NVIC_EnableIRQ(EXTI4_IRQn);

  HAL_NVIC_SetPriority(EXTI9_5_IRQn, 0, 0);
  HAL_NVIC_EnableIRQ(EXTI9_5_IRQn);

  HAL_NVIC_SetPriority(EXTI15_10_IRQn, 0, 0);
  HAL_NVIC_EnableIRQ(EXTI15_10_IRQn);

}

void Error_Handler(void)
{
  /* USER CODE BEGIN Error_Handler_Debug */
  /* User can add his own implementation to report the HAL error return state */
	Demo_Error_Handler();

  /* USER CODE END Error_Handler_Debug */
}
